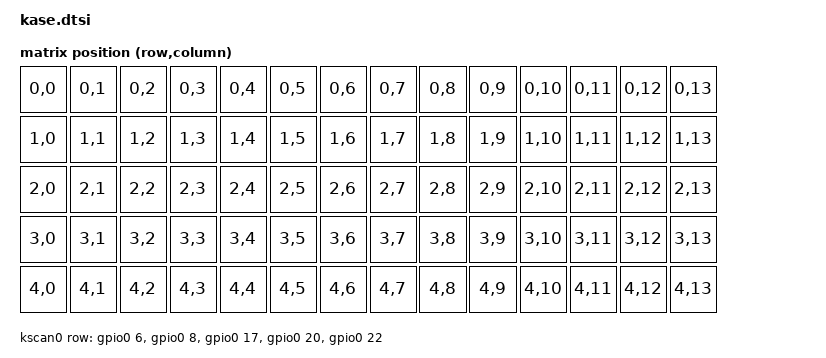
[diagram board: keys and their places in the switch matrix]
/*
 * KaSe split keyboard — shared definitions
 *
 * 5 rows × 7 cols per half = 35 positions per side, 70 total
 * Reversible PCB: same design for both halves.
 *
 * Matrix wiring (row2col diode direction):
 *   Rows: output (driven LOW to scan = active-low)
 *   Cols: input (pull-up, pressed = LOW = active-low)
 *   Diodes: BAT54C (row→col)
 */

#include <dt-bindings/zmk/matrix_transform.h>

/ {
    chosen {
        zmk,kscan = &kscan0;
        zmk,matrix-transform = &default_transform;
    };

    /*
     * Full matrix transform: 5 rows × 14 columns
     * Left half:  cols 0..6
     * Right half: cols 7..13 (col-offset = 7 on right)
     *
     * Physical layout:
     *   R0: ESC  1   2   3   4   5   6  |  7   8   9   0   -   =  BSPC
     *   R1: TAB  Q   W   E   R   T   ·  |  Y   U   I   O   P   [   ]
     *   R2: CAP  A   S   D   F   G   ·  |  H   J   K   L   ;   '  ENT
     *   R3: SFT  Z   X   C   V   ·   ·  |  N   M   ,   .   /  SFT  ·
     *   R4: CTL  GUI ALT LY1 SPC  ·   ·  | SPC LY2 ALT CTL  ·   ·   ·
     */
    default_transform: keymap_transform_0 {
        compatible = "zmk,matrix-transform";
        columns = <14>;
        rows = <5>;
        map = <
RC(0,0) RC(0,1) RC(0,2) RC(0,3) RC(0,4) RC(0,5) RC(0,6)    RC(0,7) RC(0,8) RC(0,9) RC(0,10) RC(0,11) RC(0,12) RC(0,13)
RC(1,0) RC(1,1) RC(1,2) RC(1,3) RC(1,4) RC(1,5) RC(1,6)    RC(1,7) RC(1,8) RC(1,9) RC(1,10) RC(1,11) RC(1,12) RC(1,13)
RC(2,0) RC(2,1) RC(2,2) RC(2,3) RC(2,4) RC(2,5) RC(2,6)    RC(2,7) RC(2,8) RC(2,9) RC(2,10) RC(2,11) RC(2,12) RC(2,13)
RC(3,0) RC(3,1) RC(3,2) RC(3,3) RC(3,4) RC(3,5) RC(3,6)    RC(3,7) RC(3,8) RC(3,9) RC(3,10) RC(3,11) RC(3,12) RC(3,13)
RC(4,0) RC(4,1) RC(4,2) RC(4,3) RC(4,4) RC(4,5) RC(4,6)    RC(4,7) RC(4,8) RC(4,9) RC(4,10) RC(4,11) RC(4,12) RC(4,13)
        >;
    };

    /*
     * Key scan matrix — 5 rows × 7 cols per half
     *
     * Rows (shared, same pins both sides):
     *   ROW0 = D1  = P0.06
     *   ROW1 = D0  = P0.08
     *   ROW2 = D2  = P0.17
     *   ROW3 = D3  = P0.20
     *   ROW4 = D4  = P0.22
     *
     * Cols are set per-side in left/right overlays
     * (reversed on right due to reversible PCB flip)
     */
    kscan0: kscan {
        compatible = "zmk,kscan-gpio-matrix";
        wakeup-source;
        diode-direction = "row2col";

        row-gpios
            = <&gpio0 6  (GPIO_ACTIVE_LOW)>   /* ROW0 = D1  = P0.06 */
            , <&gpio0 8  (GPIO_ACTIVE_LOW)>   /* ROW1 = D0  = P0.08 */
            , <&gpio0 17 (GPIO_ACTIVE_LOW)>   /* ROW2 = D2  = P0.17 */
            , <&gpio0 20 (GPIO_ACTIVE_LOW)>   /* ROW3 = D3  = P0.20 */
            , <&gpio0 22 (GPIO_ACTIVE_LOW)>   /* ROW4 = D4  = P0.22 */
            ;

        /* col-gpios defined in left/right overlays */
    };
};
